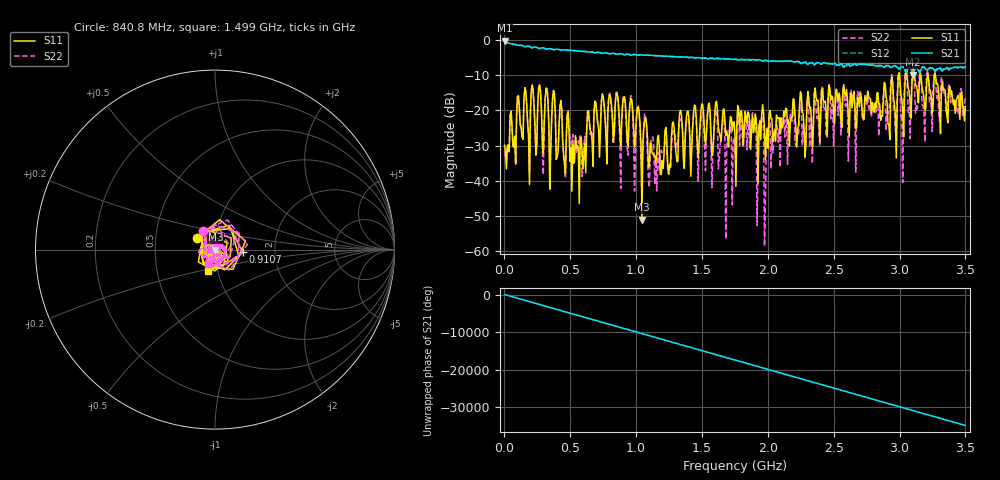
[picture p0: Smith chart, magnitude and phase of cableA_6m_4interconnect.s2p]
# GHZ S RI R 50.000000000000
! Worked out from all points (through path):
!   501 points, 1 MHz to 3.5 GHz, reference 50 ohm
!   highest |S21| = -0.19 dB at 1 MHz (marker M1); lowest = -9.9 dB at 3.101 GHz (marker M2)
!   lowest |S11| = -51.1 dB at 1.044 GHz (marker M3), VSWR 1.01, Z = 50.3 - j0.0417 ohm
!   |S11| at or under -10 dB: start of sweep to 2.993 GHz; 3.159 GHz to 3.212 GHz (52.25 MHz wide, 1.64 % of centre); 3.272 GHz to end of sweep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
!   |S22| runs from -58.6 to -7.8 dB; largest |S21 - S12| = 0.051
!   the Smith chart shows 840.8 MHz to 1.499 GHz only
!   S11 on the Smith chart (normalised r, x): 840.8 MHz: 0.81, +0.11; 910.7 MHz: 1.37, -0.04; 1.499 GHz: 0.90, -0.22
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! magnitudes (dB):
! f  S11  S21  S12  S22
! 1 MHz  -29.9  -0.2  -0.1  -33.2
! 266.9 MHz  -12.8  -2.4  -2.4  -12.6
! 294.9 MHz  -32.2  -2.3  -2.3  -38.3
! 371.9 MHz  -14.4  -2.8  -2.8  -14.4
! 455.9 MHz  -35.4  -2.8  -2.8  -34.6
! 588.8 MHz  -31.4  -3.2  -3.2  -38.8
! 840.8 MHz  -18.5  -3.9  -3.9  -18.0
! 910.7 MHz  -16.1  -4.2  -4.2  -16.3
! 1.044 GHz  -51.1  -4.3  -4.2  -37.8
! 1.17 GHz  -27.1  -4.5  -4.5  -31.9
! 1.499 GHz  -18.2  -5.2  -5.3  -21.1
! 1.75 GHz  -27.1  -5.4  -5.5  -33.3
! 1.89 GHz  -26.4  -5.6  -5.6  -24.5
! 1.925 GHz  -40.7  -5.7  -5.7  -35.7
! 1.946 GHz  -28.4  -5.7  -5.7  -25.2
! 1.988 GHz  -27.8  -5.8  -5.8  -28.1
! 2.002 GHz  -30.8  -6.0  -5.9  -26.8
! 2.338 GHz  -30.7  -6.5  -6.4  -35.1
! 2.919 GHz  -24.2  -7.4  -7.3  -20.1
! 3.017 GHz  -16.9  -7.6  -7.6  -20.9
! 3.101 GHz  -8.4  -9.9  -9.7  -7.8
! 3.5 GHz  -19.0  -7.6  -8.0  -16.0
